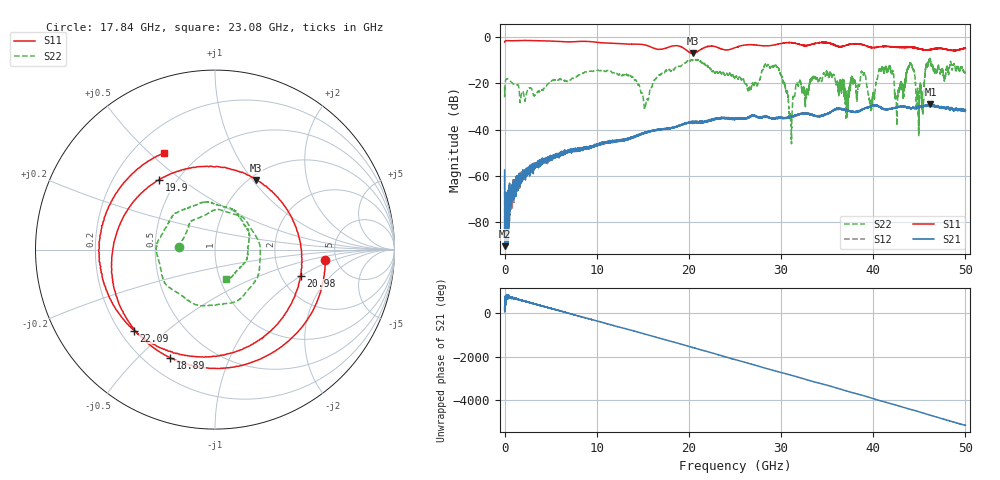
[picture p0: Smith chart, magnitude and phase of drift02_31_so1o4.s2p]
!Created with skrf (http://scikit-rf.org).
# Hz S RI R 50.0
!freq ReS11 ImS11 ReS21 ImS21 ReS12 ImS12 ReS22 ImS22
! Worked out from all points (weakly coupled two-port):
!   10001 points, 300 kHz to 50 GHz, reference 50 ohm
!   highest |S21| = -29.11 dB at 46.21 GHz (marker M1); lowest = -90.6 dB at 45.3 MHz (marker M2)
!   lowest |S11| = -6.9 dB at 20.4 GHz (marker M3), VSWR 2.64, Z = 53.3 + j52 ohm
!   |S11| at or under -10 dB: nowhere
!   |S22| runs from -46.2 to -9.1 dB; largest |S21 - S12| = 0.0028
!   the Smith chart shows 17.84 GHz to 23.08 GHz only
!   S11 on the Smith chart (normalised r, x): 17.84 GHz: 4.07, -0.75; 18.89 GHz: 0.30, -0.63; 19.9 GHz: 0.40, +0.42; 20.98 GHz: 2.54, -1.00; 22.09 GHz: 0.26, -0.39; 23.08 GHz: 0.32, +0.56
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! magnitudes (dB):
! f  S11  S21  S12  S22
! 300 kHz  -2.1  -57.6  -60.0  -21.5
! 45.3 MHz  -1.7  -90.6  -77.3  -21.0
! 8.335 GHz  -1.7  -48.7  -48.7  -15.7
! 15.32 GHz  -3.4  -41.3  -41.5  -29.3
! 16.67 GHz  -5.2  -40.0  -40.1  -16.9
! 17.84 GHz  -4.2  -39.6  -39.5  -14.0
! 18.89 GHz  -3.7  -38.5  -38.4  -12.6
! 19.9 GHz  -6.0  -37.0  -37.0  -10.1
! 20.4 GHz  -6.9  -37.4  -36.5  -10.0
! 20.98 GHz  -6.0  -36.6  -36.7  -9.7
! 22.09 GHz  -3.9  -36.4  -36.1  -12.7
! 23.08 GHz  -4.3  -35.0  -35.0  -15.0
! 25 GHz  -4.5  -35.3  -35.1  -17.4
! 29.5 GHz  -3.1  -34.9  -35.3  -12.6
! 31.03 GHz  -2.3  -34.2  -34.7  -36.0
! 33.34 GHz  -3.0  -33.6  -33.5  -18.0
! 39.74 GHz  -4.3  -30.3  -30.0  -29.8
! 41.67 GHz  -4.0  -31.0  -31.2  -13.1
! 44.16 GHz  -4.1  -30.8  -30.9  -11.9
! 44.86 GHz  -4.8  -30.3  -30.0  -24.3
! 46.21 GHz  -5.4  -29.1  -29.2  -9.6
! 50 GHz  -4.8  -31.8  -31.5  -15.4
